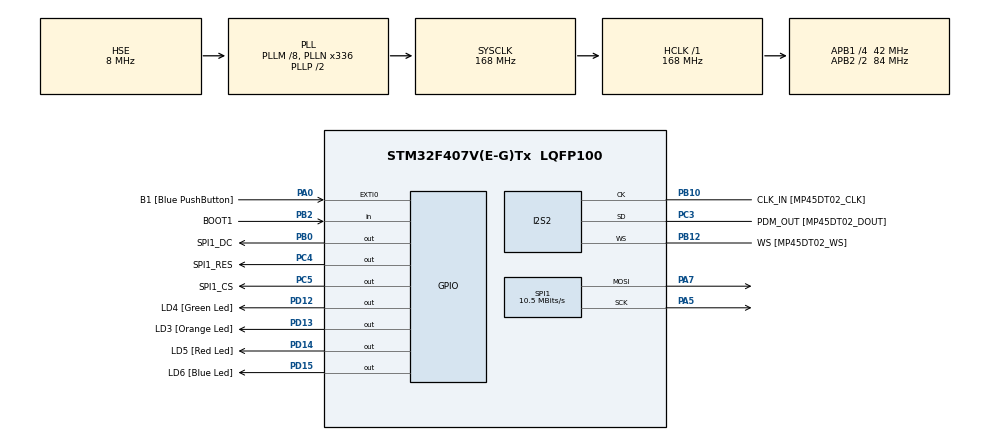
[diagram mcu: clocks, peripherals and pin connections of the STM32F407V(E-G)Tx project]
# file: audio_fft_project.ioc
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Dma.Request0=SPI2_RX
Dma.SPI2_RX.0.Direction=DMA_PERIPH_TO_MEMORY
Dma.SPI2_RX.0.FIFOMode=DMA_FIFOMODE_DISABLE
Dma.SPI2_RX.0.Instance=DMA1_Stream3
Dma.SPI2_RX.0.MemDataAlignment=DMA_MDATAALIGN_HALFWORD
Dma.SPI2_RX.0.MemInc=DMA_MINC_ENABLE
Dma.SPI2_RX.0.Mode=DMA_CIRCULAR
Dma.SPI2_RX.0.PeriphDataAlignment=DMA_PDATAALIGN_HALFWORD
Dma.SPI2_RX.0.PeriphInc=DMA_PINC_DISABLE
Dma.SPI2_RX.0.Priority=DMA_PRIORITY_VERY_HIGH
FREERTOS.Events01=AudioCallbackReady,Dynamic,NULL;FFTReady,Dynamic,NULL;AudioBuffReady,Dynamic,NULL
FREERTOS.Mutexes01=NormalizedMutex,Dynamic,NULL,Depleted;FFTMagMutex,Dynamic,NULL,Depleted
FREERTOS.Tasks01=AudioCapture,40,256,AudioCaptureTask,Default,NULL,Dynamic,NULL,NULL;FFTProcessing,32,256,FFTProcessingTask,Default,NULL,Dynamic,NULL,NULL;DisplayOutput,24,256,DisplayOutputTask,Default,NULL,Dynamic,NULL,NULL
FREERTOS.configUSE_NEWLIB_REENTRANT=1
I2S2.AudioFreq=I2S_AUDIOFREQ_16K
I2S2.CPOL=I2S_CPOL_LOW
I2S2.ErrorAudioFreq=-0.79 %
I2S2.FullDuplexMode=I2S_FULLDUPLEXMODE_DISABLE
I2S2.Instance=SPI$Index
I2S2.Mode=I2S_MODE_MASTER_RX
I2S2.RealAudioFreq=15.873 KHz
I2S2.Standard=I2S_STANDARD_PHILIPS
I2S2.VirtualMode=I2S_MODE_MASTER
Mcu.Family=STM32F4
Mcu.Name=STM32F407V(E-G)Tx
Mcu.Package=LQFP100
NVIC.DMA1_Stream3_IRQn=true\:5\:0\:false\:false\:true\:true\:false\:true\:true
NVIC.PriorityGroup=NVIC_PRIORITYGROUP_4
NVIC.TIM5_IRQn=true\:15\:0\:false\:false\:true\:false\:false\:true\:true
NVIC.TimeBase=TIM5_IRQn
NVIC.TimeBaseIP=TIM5
PA0-WKUP.GPIO_Label=B1 [Blue PushButton]
PA0-WKUP.GPIO_ModeDefaultEXTI=GPIO_MODE_EVT_RISING
PA0-WKUP.GPIO_PuPd=GPIO_NOPULL
PA0-WKUP.Signal=GPXTI0
PA13.GPIO_Label=SWDIO
PA13.Mode=Trace_Asynchronous_SW
PA13.Signal=SYS_JTMS-SWDIO
PA14.GPIO_Label=SWCLK
PA14.Mode=Trace_Asynchronous_SW
PA14.Signal=SYS_JTCK-SWCLK
PA5.Mode=TX_Only_Simplex_Unidirect_Master
PA5.Signal=SPI1_SCK
PA7.Mode=TX_Only_Simplex_Unidirect_Master
PA7.Signal=SPI1_MOSI
PB0.GPIO_Label=SPI1_DC
PB0.GPIO_Speed=GPIO_SPEED_FREQ_LOW
PB0.Signal=GPIO_Output
PB10.GPIO_Label=CLK_IN [MP45DT02_CLK]
PB10.GPIO_Mode=GPIO_MODE_AF_PP
PB10.GPIO_PuPd=GPIO_NOPULL
PB10.GPIO_Speed=GPIO_SPEED_FREQ_VERY_HIGH
PB10.Mode=Half_Duplex_Master
PB10.Signal=I2S2_CK
PB12.GPIO_Label=WS [MP45DT02_WS]
PB12.GPIO_Speed=GPIO_SPEED_FREQ_VERY_HIGH
PB12.Mode=Half_Duplex_Master
PB12.Signal=I2S2_WS
PB2.GPIO_Label=BOOT1
PB2.GPIO_Mode=GPIO_MODE_INPUT
PB2.GPIO_PuPd=GPIO_NOPULL
PB2.Signal=GPIO_Input
PB3.GPIO_Label=SWO
PB3.Mode=Trace_Asynchronous_SW
PB3.Signal=SYS_JTDO-SWO
PC14-OSC32_IN.GPIO_Label=PC14-OSC32_IN
PC14-OSC32_IN.Mode=LSE-External-Oscillator
PC14-OSC32_IN.Signal=RCC_OSC32_IN
PC15-OSC32_OUT.GPIO_Label=PC15-OSC32_OUT
PC15-OSC32_OUT.Mode=LSE-External-Oscillator
PC15-OSC32_OUT.Signal=RCC_OSC32_OUT
PC3.GPIO_Label=PDM_OUT [MP45DT02_DOUT]
PC3.GPIO_Mode=GPIO_MODE_AF_PP
PC3.GPIO_PuPd=GPIO_NOPULL
PC3.GPIO_Speed=GPIO_SPEED_FREQ_VERY_HIGH
PC3.Mode=Half_Duplex_Master
PC3.Signal=I2S2_SD
PC4.GPIO_Label=SPI1_RES
PC4.Signal=GPIO_Output
PC5.GPIO_Label=SPI1_CS
PC5.Signal=GPIO_Output
PD12.GPIO_Label=LD4 [Green Led]
PD12.GPIO_PuPd=GPIO_NOPULL
PD12.GPIO_Speed=GPIO_SPEED_FREQ_LOW
PD12.Signal=GPIO_Output
PD13.GPIO_Label=LD3 [Orange Led]
PD13.GPIO_PuPd=GPIO_NOPULL
PD13.GPIO_Speed=GPIO_SPEED_FREQ_LOW
PD13.Signal=GPIO_Output
PD14.GPIO_Label=LD5 [Red Led]
PD14.GPIO_PuPd=GPIO_NOPULL
PD14.GPIO_Speed=GPIO_SPEED_FREQ_LOW
PD14.Signal=GPIO_Output
PD15.GPIO_Label=LD6 [Blue Led]
PD15.GPIO_PuPd=GPIO_NOPULL
PD15.GPIO_Speed=GPIO_SPEED_FREQ_LOW
PD15.Signal=GPIO_Output
PDM2PCM.CHANNEL1_endianness=PDM_FILTER_ENDIANNESS_LE
PDM2PCM.CHANNEL1_high_pass_tap=2122358088
PDM2PCM.CHANNEL1_in_ptr_channels=1
PDM2PCM.CHANNEL1_mic_gain=24
PDM2PCM.CHANNEL1_out_ptr_channels=1
PH0-OSC_IN.GPIO_Label=PH0-OSC_IN
PH0-OSC_IN.Mode=HSE-External-Oscillator
PH0-OSC_IN.Signal=RCC_OSC_IN
PH1-OSC_OUT.GPIO_Label=PH1-OSC_OUT
PH1-OSC_OUT.Mode=HSE-External-Oscillator
PH1-OSC_OUT.Signal=RCC_OSC_OUT
ProjectManager.HeapSize=0x200
ProjectManager.StackSize=0x400
ProjectManager.TargetToolchain=STM32CubeIDE
RCC.48MHZClocksFreq_Value=48000000
RCC.AHBFreq_Value=168000000
RCC.APB1CLKDivider=RCC_HCLK_DIV4
RCC.APB1Freq_Value=42000000
RCC.APB1TimFreq_Value=84000000
RCC.APB2CLKDivider=RCC_HCLK_DIV2
RCC.APB2Freq_Value=84000000
RCC.APB2TimFreq_Value=168000000
RCC.CortexFreq_Value=168000000
RCC.HCLKFreq_Value=168000000
RCC.HSE_VALUE=8000000
RCC.HSI_VALUE=16000000
RCC.PLLI2SR=6
RCC.PLLM=8
RCC.PLLN=336
RCC.PLLQ=7
RCC.PLLSourceVirtual=RCC_PLLSOURCE_HSE
RCC.SYSCLKFreq_VALUE=168000000
RCC.SYSCLKSource=RCC_SYSCLKSOURCE_PLLCLK
RCC.VCOOutputFreq_Value=336000000
SPI1.BaudRatePrescaler=SPI_BAUDRATEPRESCALER_8
SPI1.CalculateBaudRate=10.5 MBits/s
SPI1.Direction=SPI_DIRECTION_2LINES
SPI1.Mode=SPI_MODE_MASTER
SPI1.VirtualType=VM_MASTER
STMicroelectronics.X-CUBE-ALGOBUILD.1.4.0.LibraryCcDSPOoLibraryJjDSPOoLibrary=true
VP_CRC_VS_CRC.Mode=CRC_Activate
VP_FREERTOS_VS_CMSIS_V2.Mode=CMSIS_V2
VP_PDM2PCM_VS_PDM2PCM.Mode=PDM2PCM_Channel
VP_STMicroelectronics.X-CUBE-ALGOBUILD_VS_DSPOoLibraryJjLibrary_1.4.0_1.4.0.Mode=DSPOoLibraryJjLibrary
VP_SYS_VS_tim5.Mode=TIM5
board=STM32F407G-DISC1

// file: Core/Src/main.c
/* USER CODE BEGIN Header */
/**
 ******************************************************************************
 * @file           : main.c
 * @brief          : Main program body
 ******************************************************************************
 * @attention
 *
 * Copyright (c) 2025 STMicroelectronics.
 * All rights reserved.
 *
 * This software is licensed under terms that can be found in the LICENSE file
 * in the root directory of this software component.
 * If no LICENSE file comes with this software, it is provided AS-IS.
 *
 ******************************************************************************
 */
/* USER CODE END Header */
#include "main.h"
#include "cmsis_os.h"
#include "pdm2pcm.h"

/* USER CODE BEGIN Includes */
#include <stdbool.h>
#include <stdio.h>
#include <stdint.h>
#include <stdlib.h>
#include <math.h>
#include "ili9341.h"
#include "arm_math.h"
#include "test.h"
/* USER CODE END Includes */

/* USER CODE BEGIN PTD */
typedef enum {
	BUFFER_OFFSET_NONE, BUFFER_OFFSET_HALF,
} Buffer_offset;
/* USER CODE END PTD */

/* USER CODE BEGIN PD */
#define TEST                    0                                               /* Test image */

#define AUDIO_FS                8000.0f                                         /* Sampling frequency */
#define RX_BUFFER_SIZE          128                                             /* Length of audio receive buffer */
#define DEC_BUFFER_SIZE         16                                              /* Length of audio buffer after decimation */
#define PCM_BUFFER_SIZE         1024                                            /* Length of audio PCM buffer */
#define NORMALIZED_BUFFER_SIZE  1024                                            /* Length of audio normalized buffer */
#define FFT_LENGTH              1024                                            /* Length of FFT samples */
#define FFT_BUFFER_SIZE         (FFT_LENGTH + 2)                                /* Length of FFT output buffer */
#define FFT_MAG_BUFFER_SIZE     (FFT_BUFFER_SIZE / 2)                           /* Length of FFT magnitude buffer*/
#define FFT_FR                  (2 * AUDIO_FS / FFT_LENGTH)                     /* FFT frequency resolution */

#define AUDIO_FLAG_HALF         0x01                                            /* Flag for audio half callback */
#define AUDIO_FLAG_FULL         0x02                                            /* Flag for audio full callback */
#define AUDIO_FLAG_COMPL        0x04                                            /* Flag for audio buffer completed  */
#define FFT_FLAG_COMPL          0x08                                            /* Flag for FFT buffer completed */

#define MAX_AUDIO_TASK_COUNTER  (PCM_BUFFER_SIZE / DEC_BUFFER_SIZE)             /* Max number of audio task execution */

#define OFFSET_Y                40                                              /* Offset of display */
#define SCALE_FACTOR            2                                               /* Scale factor of display */
#define FONT_WIDTH              7                                               /* Font width */
#define STRING_SIZE             12                                              /* Size of string buffer */
#define STRING_POS_X            (ILI9341_WIDTH - (STRING_SIZE * FONT_WIDTH))    /* Position X of string on display */
#define STRING_POS_Y            (ILI9341_HEIGHT / 6)                            /* Position Y of string on display */
/* USER CODE END PD */

/* USER CODE BEGIN PM */
#define SWAP_ENDIANESS(x) (uint16_t)( ((x) << 8) | ((x) >> 8) )
/* USER CODE END PM */

CRC_HandleTypeDef hcrc;

I2S_HandleTypeDef hi2s2;
DMA_HandleTypeDef hdma_spi2_rx;

SPI_HandleTypeDef hspi1;

/* Definitions for AudioCapture */
osThreadId_t AudioCaptureHandle;
const osThreadAttr_t AudioCapture_attributes = { .name = "AudioCapture",
		.stack_size = 256 * 4, .priority = (osPriority_t) osPriorityHigh, };
/* Definitions for FFTProcessing */
osThreadId_t FFTProcessingHandle;
const osThreadAttr_t FFTProcessing_attributes =
		{ .name = "FFTProcessing", .stack_size = 256 * 4, .priority =
				(osPriority_t) osPriorityAboveNormal, };
/* Definitions for DisplayOutput */
osThreadId_t DisplayOutputHandle;
const osThreadAttr_t DisplayOutput_attributes = { .name = "DisplayOutput",
		.stack_size = 256 * 4, .priority = (osPriority_t) osPriorityNormal, };
/* Definitions for NormalizedMutex */
osMutexId_t NormalizedMutexHandle;
const osMutexAttr_t NormalizedMutex_attributes = { .name = "NormalizedMutex" };
/* Definitions for FFTMagMutex */
osMutexId_t FFTMagMutexHandle;
const osMutexAttr_t FFTMagMutex_attributes = { .name = "FFTMagMutex" };
/* Definitions for AudioCallbackReady */
osEventFlagsId_t AudioCallbackReadyHandle;
const osEventFlagsAttr_t AudioCallbackReady_attributes = { .name =
		"AudioCallbackReady" };
/* Definitions for FFTReady */
osEventFlagsId_t FFTReadyHandle;
const osEventFlagsAttr_t FFTReady_attributes = { .name = "FFTReady" };
/* Definitions for AudioBuffReady */
osEventFlagsId_t AudioBuffReadyHandle;
const osEventFlagsAttr_t AudioBuffReady_attributes =
		{ .name = "AudioBuffReady" };
/* USER CODE BEGIN PV */
arm_rfft_fast_instance_f32 fft_audio_instance = { 0 }; /* Instance FFT structure */

uint16_t rx_buff[RX_BUFFER_SIZE] = { 0 }; /* Audio receive buffer */
float32_t normalized_buff[NORMALIZED_BUFFER_SIZE] = { 0 }; /* Audio normalized buffer */

float32_t hann_table[NORMALIZED_BUFFER_SIZE] = { 0 }; /* Hann window multipliers */
float32_t fft_mag_buff[FFT_MAG_BUFFER_SIZE] = { 0 }; /* FFT Magnitude buffer */
/* USER CODE END PV */

void SystemClock_Config(void);
static void MX_GPIO_Init(void);
static void MX_DMA_Init(void);
static void MX_CRC_Init(void);
static void MX_I2S2_Init(void);
static void MX_SPI1_Init(void);
void AudioCaptureTask(void *argument);
void FFTProcessingTask(void *argument);
void DisplayOutputTask(void *argument);

/* USER CODE BEGIN PFP */
void init_hann_window(float32_t *hann_table);
void pdm_to_pcm(const uint16_t *pdm_buff, uint16_t *pcm_buff,
		const Buffer_offset buffer_offset);
void normalize_buff(const int16_t *pcm_buff, float32_t *normalized_buff,
		const size_t buff_index);
void apply_hann_window(const float32_t *normalized_buff,
		const float32_t *hann_table, float32_t *windowed_buff);
void fft_compute(float32_t *windowed_buff, float32_t *fft_mag_buff);
/* USER CODE END PFP */

int main(void) {

	/* MCU Configuration--------------------------------------------------------*/

	/* Reset of all peripherals, Initializes the Flash interface and the Systick. */
	HAL_Init();

	/* Configure the system clock */
	SystemClock_Config();

	/* Initialize all configured peripherals */
	MX_GPIO_Init();
	MX_DMA_Init();
	MX_CRC_Init();
	MX_I2S2_Init();
	MX_PDM2PCM_Init();
	MX_SPI1_Init();
	/* USER CODE BEGIN 2 */

	/* Display driver initialize */
	ILI9341_Init();
	ILI9341_FillScreen(ILI9341_BLACK);
#if TEST
	ILI9341_DrawImage(0, 0, 240, 240, (uint16_t*) test_img_240x240);
#endif

	/* DMA initialize */
	HAL_I2S_Receive_DMA(&hi2s2, (uint16_t*) rx_buff, RX_BUFFER_SIZE);

	/* FFT initialize */
	arm_rfft_fast_init_f32(&fft_audio_instance, FFT_LENGTH);

	/* Init Hann multipliers */
	init_hann_window(hann_table);
	/* USER CODE END 2 */

	/* Init scheduler */
	osKernelInitialize();
	/* Create the mutex(es) */
	/* creation of NormalizedMutex */
	NormalizedMutexHandle = osMutexNew(&NormalizedMutex_attributes);

	/* creation of FFTMagMutex */
	FFTMagMutexHandle = osMutexNew(&FFTMagMutex_attributes);

	/* Create the thread(s) */
	/* creation of AudioCapture */
	AudioCaptureHandle = osThreadNew(AudioCaptureTask, NULL,
			&AudioCapture_attributes);

	/* creation of FFTProcessing */
	FFTProcessingHandle = osThreadNew(FFTProcessingTask, NULL,
			&FFTProcessing_attributes);

	/* creation of DisplayOutput */
	DisplayOutputHandle = osThreadNew(DisplayOutputTask, NULL,
			&DisplayOutput_attributes);

	/* creation of AudioCallbackReady */
	AudioCallbackReadyHandle = osEventFlagsNew(&AudioCallbackReady_attributes);

	/* creation of FFTReady */
	FFTReadyHandle = osEventFlagsNew(&FFTReady_attributes);

	/* creation of AudioBuffReady */
	AudioBuffReadyHandle = osEventFlagsNew(&AudioBuffReady_attributes);

	/* Start scheduler */
	osKernelStart();

	/* We should never get here as control is now taken by the scheduler */

	/* Infinite loop */
	while (1) {

	}
}

void SystemClock_Config(void) {
	RCC_OscInitTypeDef RCC_OscInitStruct = { 0 };
	RCC_ClkInitTypeDef RCC_ClkInitStruct = { 0 };

	/** Configure the main internal regulator output voltage
	 */
	__HAL_RCC_PWR_CLK_ENABLE();
	__HAL_PWR_VOLTAGESCALING_CONFIG(PWR_REGULATOR_VOLTAGE_SCALE1);

	/** Initializes the RCC Oscillators according to the specified parameters
	 * in the RCC_OscInitTypeDef structure.
	 */
	RCC_OscInitStruct.OscillatorType = RCC_OSCILLATORTYPE_HSE;
	RCC_OscInitStruct.HSEState = RCC_HSE_ON;
	RCC_OscInitStruct.PLL.PLLState = RCC_PLL_ON;
	RCC_OscInitStruct.PLL.PLLSource = RCC_PLLSOURCE_HSE;
	RCC_OscInitStruct.PLL.PLLM = 8;
	RCC_OscInitStruct.PLL.PLLN = 336;
	RCC_OscInitStruct.PLL.PLLP = RCC_PLLP_DIV2;
	RCC_OscInitStruct.PLL.PLLQ = 7;
	if (HAL_RCC_OscConfig(&RCC_OscInitStruct) != HAL_OK) {
		Error_Handler();
	}

	/** Initializes the CPU, AHB and APB buses clocks
	 */
	RCC_ClkInitStruct.ClockType = RCC_CLOCKTYPE_HCLK | RCC_CLOCKTYPE_SYSCLK
			| RCC_CLOCKTYPE_PCLK1 | RCC_CLOCKTYPE_PCLK2;
	RCC_ClkInitStruct.SYSCLKSource = RCC_SYSCLKSOURCE_PLLCLK;
	RCC_ClkInitStruct.AHBCLKDivider = RCC_SYSCLK_DIV1;
	RCC_ClkInitStruct.APB1CLKDivider = RCC_HCLK_DIV4;
	RCC_ClkInitStruct.APB2CLKDivider = RCC_HCLK_DIV2;

	if (HAL_RCC_ClockConfig(&RCC_ClkInitStruct, FLASH_LATENCY_5) != HAL_OK) {
		Error_Handler();
	}
}

static void MX_CRC_Init(void) {

	hcrc.Instance = CRC;
	if (HAL_CRC_Init(&hcrc) != HAL_OK) {
		Error_Handler();
	}
	__HAL_CRC_DR_RESET(&hcrc);

}

static void MX_I2S2_Init(void) {

	hi2s2.Instance = SPI2;
	hi2s2.Init.Mode = I2S_MODE_MASTER_RX;
	hi2s2.Init.Standard = I2S_STANDARD_PHILIPS;
	hi2s2.Init.DataFormat = I2S_DATAFORMAT_16B;
	hi2s2.Init.MCLKOutput = I2S_MCLKOUTPUT_DISABLE;
	hi2s2.Init.AudioFreq = I2S_AUDIOFREQ_16K;
	hi2s2.Init.CPOL = I2S_CPOL_LOW;
	hi2s2.Init.ClockSource = I2S_CLOCK_PLL;
	hi2s2.Init.FullDuplexMode = I2S_FULLDUPLEXMODE_DISABLE;
	if (HAL_I2S_Init(&hi2s2) != HAL_OK) {
		Error_Handler();
	}

}

static void MX_SPI1_Init(void) {

	/* SPI1 parameter configuration*/
	hspi1.Instance = SPI1;
	hspi1.Init.Mode = SPI_MODE_MASTER;
	hspi1.Init.Direction = SPI_DIRECTION_2LINES;
	hspi1.Init.DataSize = SPI_DATASIZE_8BIT;
	hspi1.Init.CLKPolarity = SPI_POLARITY_LOW;
	hspi1.Init.CLKPhase = SPI_PHASE_1EDGE;
	hspi1.Init.NSS = SPI_NSS_SOFT;
	hspi1.Init.BaudRatePrescaler = SPI_BAUDRATEPRESCALER_8;
	hspi1.Init.FirstBit = SPI_FIRSTBIT_MSB;
	hspi1.Init.TIMode = SPI_TIMODE_DISABLE;
	hspi1.Init.CRCCalculation = SPI_CRCCALCULATION_DISABLE;
	hspi1.Init.CRCPolynomial = 10;
	if (HAL_SPI_Init(&hspi1) != HAL_OK) {
		Error_Handler();
	}

}

static void MX_DMA_Init(void) {

	/* DMA controller clock enable */
	__HAL_RCC_DMA1_CLK_ENABLE();

	/* DMA interrupt init */
	/* DMA1_Stream3_IRQn interrupt configuration */
	HAL_NVIC_SetPriority(DMA1_Stream3_IRQn, 5, 0);
	HAL_NVIC_EnableIRQ(DMA1_Stream3_IRQn);

}

static void MX_GPIO_Init(void) {
	GPIO_InitTypeDef GPIO_InitStruct = { 0 };

	/* GPIO Ports Clock Enable */
	__HAL_RCC_GPIOC_CLK_ENABLE();
	__HAL_RCC_GPIOH_CLK_ENABLE();
	__HAL_RCC_GPIOA_CLK_ENABLE();
	__HAL_RCC_GPIOB_CLK_ENABLE();
	__HAL_RCC_GPIOD_CLK_ENABLE();

	/*Configure GPIO pin Output Level */
	HAL_GPIO_WritePin(GPIOC, SPI1_RES_Pin | SPI1_CS_Pin, GPIO_PIN_RESET);

	/*Configure GPIO pin Output Level */
	HAL_GPIO_WritePin(SPI1_DC_GPIO_Port, SPI1_DC_Pin, GPIO_PIN_RESET);

	/*Configure GPIO pin Output Level */
	HAL_GPIO_WritePin(GPIOD, LD4_Pin | LD3_Pin | LD5_Pin | LD6_Pin,
			GPIO_PIN_RESET);

	/*Configure GPIO pin : B1_Pin */
	GPIO_InitStruct.Pin = B1_Pin;
	GPIO_InitStruct.Mode = GPIO_MODE_EVT_RISING;
	GPIO_InitStruct.Pull = GPIO_NOPULL;
	HAL_GPIO_Init(B1_GPIO_Port, &GPIO_InitStruct);

	/*Configure GPIO pins : SPI1_RES_Pin SPI1_CS_Pin */
	GPIO_InitStruct.Pin = SPI1_RES_Pin | SPI1_CS_Pin;
	GPIO_InitStruct.Mode = GPIO_MODE_OUTPUT_PP;
	GPIO_InitStruct.Pull = GPIO_NOPULL;
	GPIO_InitStruct.Speed = GPIO_SPEED_FREQ_LOW;
	HAL_GPIO_Init(GPIOC, &GPIO_InitStruct);

	/*Configure GPIO pin : SPI1_DC_Pin */
	GPIO_InitStruct.Pin = SPI1_DC_Pin;
	GPIO_InitStruct.Mode = GPIO_MODE_OUTPUT_PP;
	GPIO_InitStruct.Pull = GPIO_NOPULL;
	GPIO_InitStruct.Speed = GPIO_SPEED_FREQ_LOW;
	HAL_GPIO_Init(SPI1_DC_GPIO_Port, &GPIO_InitStruct);

	/*Configure GPIO pin : BOOT1_Pin */
	GPIO_InitStruct.Pin = BOOT1_Pin;
	GPIO_InitStruct.Mode = GPIO_MODE_INPUT;
	GPIO_InitStruct.Pull = GPIO_NOPULL;
	HAL_GPIO_Init(BOOT1_GPIO_Port, &GPIO_InitStruct);

	/*Configure GPIO pins : LD4_Pin LD3_Pin LD5_Pin LD6_Pin */
	GPIO_InitStruct.Pin = LD4_Pin | LD3_Pin | LD5_Pin | LD6_Pin;
	GPIO_InitStruct.Mode = GPIO_MODE_OUTPUT_PP;
	GPIO_InitStruct.Pull = GPIO_NOPULL;
	GPIO_InitStruct.Speed = GPIO_SPEED_FREQ_LOW;
	HAL_GPIO_Init(GPIOD, &GPIO_InitStruct);

}

/* USER CODE BEGIN 4 */
void HAL_I2S_RxHalfCpltCallback(I2S_HandleTypeDef *hi2s) {
	/* Only when the interrupt is triggered by I2S connected to the microphone */
	if (hi2s->Instance == SPI2) {
		osEventFlagsSet(AudioCallbackReadyHandle, AUDIO_FLAG_HALF);
	}
}

void HAL_I2S_RxCpltCallback(I2S_HandleTypeDef *hi2s) {
	/* Only when the interrupt is triggered by I2S connected to the microphone */
	if (hi2s->Instance == SPI2) {
		osEventFlagsSet(AudioCallbackReadyHandle, AUDIO_FLAG_FULL);
	}
}

void init_hann_window(float32_t *hann_table) {
	/* Initialize array with hann windows values */
	for (size_t i = 0; i < NORMALIZED_BUFFER_SIZE; i++) {
		hann_table[i] = 0.5f
				* (1.0f - cosf(2.0f * PI * i / (NORMALIZED_BUFFER_SIZE - 1)));
	}
}

void pdm_to_pcm(const uint16_t *pdm_buff, uint16_t *pcm_buff,
		const Buffer_offset buffer_offset) {
	// pdm_buff - source PDM
	// pdm_buff - destination PCM
	static uint16_t pdm_swap_buff[RX_BUFFER_SIZE / 2] = { 0 };

	/* PDM swap endianness */
	for (size_t i = 0; i < RX_BUFFER_SIZE / 2; i++) {
		size_t index = i + (RX_BUFFER_SIZE / 2) * buffer_offset;
		pdm_swap_buff[i] = SWAP_ENDIANESS(pdm_buff[index]);
	}

	/* PDM to PCM filter */
	PDM_Filter(pdm_swap_buff, pcm_buff, &PDM1_filter_handler);
}

void normalize_buff(const int16_t *pcm_buff, float32_t *normalized_buff,
		const size_t buff_index) {
	// pcm_buff - source PCM
	// normalized_buff - destination normalized PCM
	for (size_t i = 0; i < DEC_BUFFER_SIZE; i++) {
		int16_t int_val = (int16_t) pcm_buff[buff_index + i];
		float32_t float_val = (float32_t) int_val / (float32_t) INT16_MAX;
		if ((i > 0) && (float_val > 0.2 || float_val < -0.2)) {
			float_val = normalized_buff[buff_index + i - 1];
		}
		normalized_buff[buff_index + i] = float_val;
	}
}

void apply_hann_window(const float32_t *normalized_buff,
		const float32_t *hann_table, float32_t *windowed_buff) {
	/* Hann window is applied to reduce spectral leakage */
	for (size_t i = 0; i < NORMALIZED_BUFFER_SIZE; i++) {
		windowed_buff[i] = normalized_buff[i] * hann_table[i];
	}
}

void fft_compute(float32_t *windowed_buff, float32_t *fft_mag_buff) {
	static float32_t fft_out_buff[FFT_BUFFER_SIZE] = { 0 };
	/* Compute FFT */
	arm_rfft_fast_f32(&fft_audio_instance, windowed_buff, fft_out_buff, 0);

	/* Calculate magnitude from real and imaginary part of FFT */
	arm_cmplx_mag_f32(fft_out_buff, fft_mag_buff, FFT_MAG_BUFFER_SIZE);
}
/* USER CODE END 4 */

void AudioCaptureTask(void *argument) {
	/* USER CODE BEGIN 5 */
	uint16_t audio_task_counter = 0; /* Counts how many times task executed */
	static uint16_t dec_buff[DEC_BUFFER_SIZE] = { 0 }; /* Audio buffer after decimation */
	static int16_t pcm_buff[PCM_BUFFER_SIZE] = { 0 }; /* PCM audio buffer */
	Buffer_offset buffer_offset = BUFFER_OFFSET_NONE; /* Offset of writing to buffer */

	/* Infinite loop */
	for (;;) {
		uint32_t flags = osEventFlagsWait(AudioCallbackReadyHandle,
		AUDIO_FLAG_HALF | AUDIO_FLAG_FULL,
		osFlagsWaitAny, osWaitForever);

		/* Buffer differs depending on which interrupt was executed */
		if (flags & AUDIO_FLAG_HALF) {
			buffer_offset = BUFFER_OFFSET_HALF;
		} else if (flags & AUDIO_FLAG_FULL) {
			buffer_offset = BUFFER_OFFSET_NONE;
		}

		/* Convert PDM sound to PCM sound */
		pdm_to_pcm(rx_buff, dec_buff, buffer_offset);

		const size_t buff_index = audio_task_counter * DEC_BUFFER_SIZE;

		/* Copy converted data to transmit buffer */
		memcpy(&pcm_buff[buff_index], dec_buff,
		DEC_BUFFER_SIZE * 2);

		/* Normalize PCM buffer */
		osMutexAcquire(NormalizedMutexHandle, osWaitForever);
		normalize_buff(pcm_buff, normalized_buff, buff_index);
		osMutexRelease(NormalizedMutexHandle);

		audio_task_counter++;

		/* If buffer is full set flag */
		if (audio_task_counter == MAX_AUDIO_TASK_COUNTER) {
			osEventFlagsSet(AudioBuffReadyHandle, AUDIO_FLAG_COMPL);
			audio_task_counter = 0;
		}
	}
	/* USER CODE END 5 */
}

void FFTProcessingTask(void *argument) {
	/* USER CODE BEGIN FFTProcessingTask */
	static float32_t windowed_buff[NORMALIZED_BUFFER_SIZE] = { 0 }; /* Normalized and windowed buffer */
	/* Infinite loop */
	for (;;) {
		osEventFlagsWait(AudioBuffReadyHandle,
		AUDIO_FLAG_COMPL,
		osFlagsWaitAny, osWaitForever);

		/* Apply Hann window */
		osMutexAcquire(NormalizedMutexHandle, osWaitForever);
		apply_hann_window(normalized_buff, hann_table, windowed_buff);
		osMutexRelease(NormalizedMutexHandle);

		/* Perform FFT */
		osMutexAcquire(FFTMagMutexHandle, osWaitForever);
		fft_compute(windowed_buff, fft_mag_buff);
		osMutexRelease(FFTMagMutexHandle);

		osEventFlagsSet(FFTReadyHandle, FFT_FLAG_COMPL);
	}
	/* USER CODE END FFTProcessingTask */
}

void DisplayOutputTask(void *argument) {
	/* USER CODE BEGIN DisplayOutputTask */
	static int32_t fft_db_buff[ILI9341_HEIGHT] = { 0 }; /* Values from current execution of this task */
	static int32_t fft_prev_db_buff[ILI9341_HEIGHT] = { 0 }; /* Values from previous execution of this task */
	/* Infinite loop */
	for (;;) {
		osEventFlagsWait(FFTReadyHandle,
		FFT_FLAG_COMPL,
		osFlagsWaitAny, osWaitForever);

		int32_t peak_index = 0;

		osMutexAcquire(FFTMagMutexHandle, osWaitForever);

		for (size_t i = 0; i < ILI9341_HEIGHT; i++) {
			/* Get average and FFT magnitude to decibel scale */
			float32_t avg_val = (fft_mag_buff[i * 2] + fft_mag_buff[i * 2 + 1])
					/ 2;
			int32_t log_val = (int32_t) (20 * log10f(avg_val));
			int32_t scaled_val = (log_val + OFFSET_Y) * SCALE_FACTOR;
			fft_db_buff[i] = scaled_val;

			/* Compare with previous result to reduce drawing */
			if (fft_prev_db_buff[i] != fft_db_buff[i]) {
				size_t display_val = ILI9341_HEIGHT - fft_db_buff[i];
				size_t prev_display_val = ILI9341_HEIGHT - fft_prev_db_buff[i];
				ILI9341_DrawPixel(i, display_val, ILI9341_WHITE);
				ILI9341_DrawPixel(i, prev_display_val, ILI9341_BLACK);
			}
			fft_prev_db_buff[i] = fft_db_buff[i];

			/* Find peak index */
			if (fft_db_buff[peak_index] < fft_db_buff[i]) {
				peak_index = i;
			}
		}

		/* Write peak value on display */
		float32_t peak_value = peak_index * FFT_FR;
		char string_peak[STRING_SIZE] = { 0 };
		snprintf(string_peak, sizeof(string_peak), "%8.2f Hz", peak_value);
		ILI9341_WriteString(STRING_POS_X, STRING_POS_Y, string_peak, Font_7x10,
		ILI9341_WHITE, ILI9341_BLACK);

		osMutexRelease(FFTMagMutexHandle);
	}
	/* USER CODE END DisplayOutputTask */
}

void HAL_TIM_PeriodElapsedCallback(TIM_HandleTypeDef *htim) {
	if (htim->Instance == TIM5) {
		HAL_IncTick();
	}
}

void Error_Handler(void) {
	__disable_irq();
	while (1) {
	}
}
